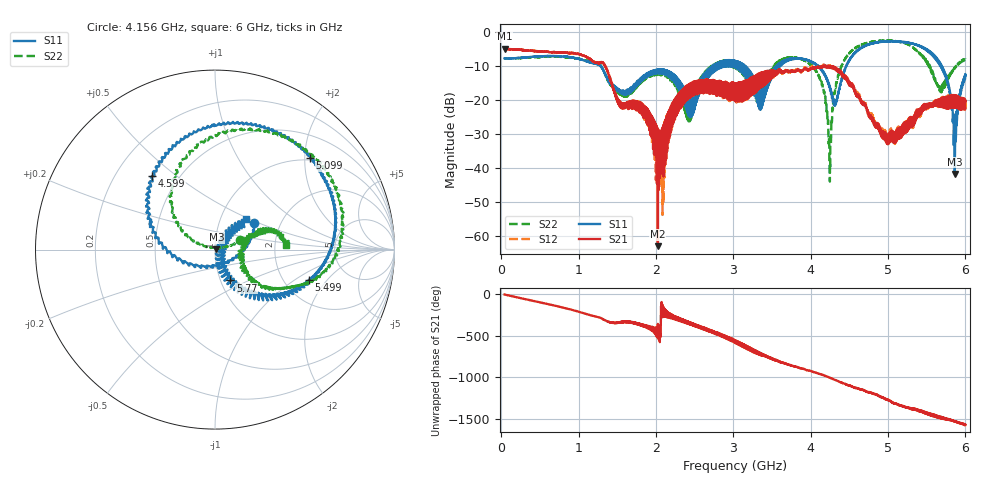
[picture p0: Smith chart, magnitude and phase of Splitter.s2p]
!Agilent Technologies,E8364A,US41440144,A.06.04.32
!Agilent E8364A: A.06.04.32
!Date: Wednesday, November 28, 2018 16:47:19
!Correction: S11(Full 2 Port(1,2)) S21(Full 2 Port(1,2)) S12(Full 2 Port(1,2)) S22(Full 2 Port(1,2))
!S2P File: Measurements: S11, S21, S12, S22:
# Hz S  dB  R 50
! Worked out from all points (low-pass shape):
!   16001 points, 45 MHz to 6 GHz, reference 50 ohm
!   highest |S21| = -4.81 dB at 47.23 MHz (marker M1); lowest = -62.9 dB at 2.026 GHz (marker M2)
!   |S21| within 3 dB of the highest: start of sweep to 1.148 GHz; 1.147941 GHz to 1.150279 GHz (2.337 MHz wide, 0.203 % of centre)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
!   lowest |S11| = -41.6 dB at 5.863 GHz (marker M3), VSWR 1.02, Z = 50.8 + j0.0841 ohm
!   |S11| at or under -10 dB: 1.294 GHz to 2.728 GHz (1.434 GHz wide, 71.3 % of centre); 3.158 GHz to 3.549 GHz (391.3 MHz wide, 11.7 % of centre); 4.102 GHz to 4.459 GHz (356.8 MHz wide, 8.34 % of centre)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
!   |S22| runs from -43.9 to -2.3 dB; largest |S21 - S12| = 0.11
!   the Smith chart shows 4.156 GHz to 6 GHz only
!   S11 on the Smith chart (normalised r, x): 4.156 GHz: 1.47, +0.46; 4.599 GHz: 0.36, +0.41; 5.099 GHz: 0.96, +2.12; 5.499 GHz: 2.72, -1.33; 5.77 GHz: 1.11, -0.40; 6 GHz: 1.31, +0.45
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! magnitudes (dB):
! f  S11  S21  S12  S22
! 45 MHz  -7.6  -4.8  -4.8  -7.6
! 47.23 MHz  -7.6  -4.8  -4.8  -7.6
! 1.038 GHz  -8.0  -6.6  -6.6  -7.9
! 1.597 GHz  -18.3  -21.2  -21.6  -18.8
! 2.026 GHz  -12.0  -62.9  -29.1  -11.3
! 2.03 GHz  -11.1  -30.0  -28.5  -11.3
! 2.451 GHz  -23.2  -16.1  -15.7  -25.4
! 2.686 GHz  -11.3  -14.1  -14.2  -11.0
! 3.022 GHz  -10.1  -20.2  -15.8  -8.5
! 3.365 GHz  -22.3  -11.8  -13.0  -17.7
! 3.639 GHz  -8.7  -11.6  -11.8  -7.8
! 4.015 GHz  -8.6  -10.4  -10.1  -9.7
! 4.156 GHz  -11.6  -10.1  -9.9  -16.4
! 4.248 GHz  -15.8  -9.9  -9.9  -43.0
! 4.369 GHz  -16.5  -11.1  -11.5  -11.6
! 4.599 GHz  -5.3  -18.4  -17.7  -4.2
! 5.008 GHz  -2.5  -30.5  -31.3  -2.4
! 5.099 GHz  -2.7  -32.2  -29.4  -2.5
! 5.499 GHz  -5.2  -22.0  -22.6  -8.3
! 5.77 GHz  -14.4  -21.1  -19.5  -14.0
! 5.863 GHz  -41.6  -18.6  -21.7  -10.4
! 6 GHz  -12.7  -20.2  -20.1  -7.6
